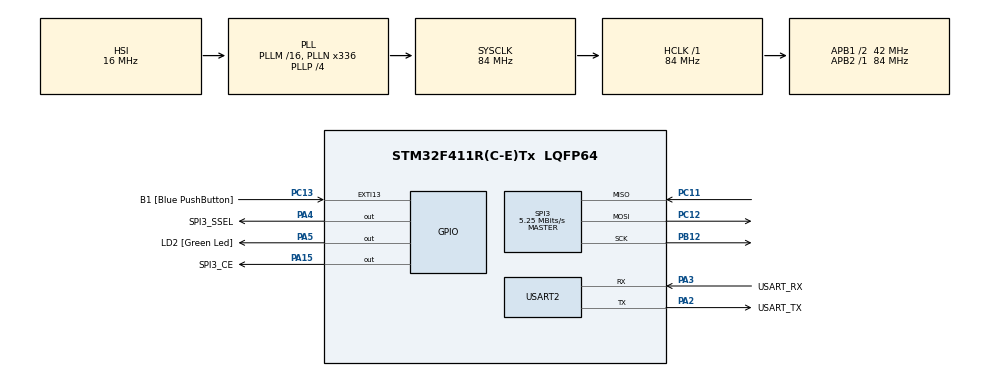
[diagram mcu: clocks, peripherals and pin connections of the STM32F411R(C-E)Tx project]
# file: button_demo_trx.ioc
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Mcu.Family=STM32F4
Mcu.Name=STM32F411R(C-E)Tx
Mcu.Package=LQFP64
NVIC.PriorityGroup=NVIC_PRIORITYGROUP_0
PA13.GPIO_Label=TMS
PA13.Mode=Serial_Wire
PA13.Signal=SYS_JTMS-SWDIO
PA14.GPIO_Label=TCK
PA14.Mode=Serial_Wire
PA14.Signal=SYS_JTCK-SWCLK
PA15.GPIO_Label=SPI3_CE
PA15.Signal=GPIO_Output
PA2.GPIO_Label=USART_TX
PA2.Mode=Asynchronous
PA2.Signal=USART2_TX
PA3.GPIO_Label=USART_RX
PA3.Mode=Asynchronous
PA3.Signal=USART2_RX
PA4.GPIO_Label=SPI3_SSEL
PA4.Signal=GPIO_Output
PA5.GPIO_Label=LD2 [Green Led]
PA5.Signal=GPIO_Output
PB12.Mode=Full_Duplex_Master
PB12.Signal=SPI3_SCK
PB3.GPIO_Label=SWO
PB3.Signal=SYS_JTDO-SWO
PC11.Mode=Full_Duplex_Master
PC11.Signal=SPI3_MISO
PC12.Mode=Full_Duplex_Master
PC12.Signal=SPI3_MOSI
PC13-ANTI_TAMP.GPIO_Label=B1 [Blue PushButton]
PC13-ANTI_TAMP.GPIO_ModeDefaultEXTI=GPIO_MODE_IT_FALLING
PC13-ANTI_TAMP.Signal=GPXTI13
PC14-OSC32_IN.Mode=LSE-External-Oscillator
PC14-OSC32_IN.Signal=RCC_OSC32_IN
PC15-OSC32_OUT.Mode=LSE-External-Oscillator
PC15-OSC32_OUT.Signal=RCC_OSC32_OUT
PH0\ -\ OSC_IN.Mode=HSE-External-Clock-Source
PH0\ -\ OSC_IN.Signal=RCC_OSC_IN
PH1\ -\ OSC_OUT.Mode=HSE-External-Clock-Source
PH1\ -\ OSC_OUT.Signal=RCC_OSC_OUT
ProjectManager.HeapSize=0x200
ProjectManager.StackSize=0x400
ProjectManager.TargetToolchain=STM32CubeIDE
RCC.48MHZClocksFreq_Value=84000000
RCC.AHBFreq_Value=84000000
RCC.APB1CLKDivider=RCC_HCLK_DIV2
RCC.APB1Freq_Value=42000000
RCC.APB1TimFreq_Value=84000000
RCC.APB2Freq_Value=84000000
RCC.APB2TimFreq_Value=84000000
RCC.CortexFreq_Value=84000000
RCC.FLatency-AdvancedSettings=FLASH_LATENCY_2
RCC.HCLKFreq_Value=84000000
RCC.HSE_VALUE=8000000
RCC.HSI_VALUE=16000000
RCC.PLLN=336
RCC.PLLP=RCC_PLLP_DIV4
RCC.SYSCLKFreq_VALUE=84000000
RCC.SYSCLKSource=RCC_SYSCLKSOURCE_PLLCLK
RCC.VCOOutputFreq_Value=336000000
SPI3.BaudRatePrescaler=SPI_BAUDRATEPRESCALER_8
SPI3.CalculateBaudRate=5.25 MBits/s
SPI3.Direction=SPI_DIRECTION_2LINES
SPI3.FirstBit=SPI_FIRSTBIT_MSB
SPI3.Mode=SPI_MODE_MASTER
SPI3.VirtualType=VM_MASTER
USART2.VirtualMode=VM_ASYNC
board=NUCLEO-F411RE

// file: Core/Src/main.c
/* USER CODE BEGIN Header */
/**
  ******************************************************************************
  * @file           : main.c
  * @brief          : Main program body
  ******************************************************************************
  * @attention
  *
  * Copyright (c) 2022 STMicroelectronics.
  * All rights reserved.
  *
  * This software is licensed under terms that can be found in the LICENSE file
  * in the root directory of this software component.
  * If no LICENSE file comes with this software, it is provided AS-IS.
  *
  ******************************************************************************
  */
/* USER CODE END Header */
#include "main.h"

/* USER CODE BEGIN Includes */
#include "string.h"
#include "NRF24L01.h"
/* USER CODE END Includes */

SPI_HandleTypeDef hspi3;

UART_HandleTypeDef huart2;

/* USER CODE BEGIN PV */
uint8_t RxAddress[] = {0xEE,0xDD,0xCC,0xBB,0xAA}; // list of data pipes available
uint8_t RxData[32];
uint8_t txData[32];
uint8_t TxAddress[] = {0xEE,0xDD,0xCC,0xBB,0xAA};
uint8_t uButtonFlag = 0;
/* USER CODE END PV */

void SystemClock_Config(void);
static void MX_GPIO_Init(void);
static void MX_USART2_UART_Init(void);
static void MX_SPI3_Init(void);
/* USER CODE BEGIN PFP */
uint8_t userButtonActive(void);
/* USER CODE END PFP */

int main(void)
{
  /* USER CODE BEGIN 1 */
	// set up tx data
	char txBuf[32];
	strcpy(txBuf,  "According to all known laws of a");

	// convert to transmittable form:
	memcpy(&txData, txBuf, 32); // done! data ready in txData
  /* USER CODE END 1 */

  /* MCU Configuration--------------------------------------------------------*/

  /* Reset of all peripherals, Initializes the Flash interface and the Systick. */
  HAL_Init();

  /* Configure the system clock */
  SystemClock_Config();

  /* Initialize all configured peripherals */
  MX_GPIO_Init();
  MX_USART2_UART_Init();
  MX_SPI3_Init();
  /* USER CODE BEGIN 2 */
  NRF24_Init();
  NRF24_RxMode(RxAddress, 6); // receive on channel 6
  /* USER CODE END 2 */

  /* Infinite loop */
  /* USER CODE BEGIN WHILE */
  while (1)
  {
	  // push button - transmit bee movie
	  if(userButtonActive())
	  {
		  // user wants to transmit
		  // set up tx mode:
		  NRF24_TxMode(TxAddress, 6); // transmit on channel 6
		  HAL_Delay(1); // let SPI settle
		  if(NRF24_Transmit(txData)) // transmit 32B msg, check if it worked
		  {
			  // flash the happy light: 3 quick blinks
			  int flashCount = 3;
			  for(int i = 0; i < (flashCount*2); i++)
			  {
				  HAL_GPIO_TogglePin(GPIOA, GPIO_PIN_5);
				  HAL_Delay(150);
			  }
		  }
		  // flash the sad lights: 2 long unsynced blinks
		  else
		  {
			  int flashCount = 3;
			  for(int i = 0; i < flashCount; i++)
			  {
			  	  HAL_GPIO_TogglePin(GPIOA, GPIO_PIN_5);
			  	  HAL_Delay(300);
			  	  HAL_GPIO_TogglePin(GPIOA, GPIO_PIN_5);
			  	  HAL_Delay(100);
			  }
		  }
		  NRF24_RxMode(RxAddress, 6); // return to Rx mode

	  }
	  // otherwise, just check for mail (Rx)
	  if(isDataAvailable(2))
	  {
		  // get the data
		  NRF24_Receive(RxData);
		  HAL_GPIO_TogglePin(GPIOA, GPIO_PIN_5); // toggle the LED
	  }

    /* USER CODE END WHILE */

    /* USER CODE BEGIN 3 */
	  HAL_Delay(20); // cycle 50 times a second MAX
  }
  /* USER CODE END 3 */
}

void SystemClock_Config(void)
{
  RCC_OscInitTypeDef RCC_OscInitStruct = {0};
  RCC_ClkInitTypeDef RCC_ClkInitStruct = {0};

  /** Configure the main internal regulator output voltage
  */
  __HAL_RCC_PWR_CLK_ENABLE();
  __HAL_PWR_VOLTAGESCALING_CONFIG(PWR_REGULATOR_VOLTAGE_SCALE1);
  /** Initializes the RCC Oscillators according to the specified parameters
  * in the RCC_OscInitTypeDef structure.
  */
  RCC_OscInitStruct.OscillatorType = RCC_OSCILLATORTYPE_HSI;
  RCC_OscInitStruct.HSIState = RCC_HSI_ON;
  RCC_OscInitStruct.HSICalibrationValue = RCC_HSICALIBRATION_DEFAULT;
  RCC_OscInitStruct.PLL.PLLState = RCC_PLL_ON;
  RCC_OscInitStruct.PLL.PLLSource = RCC_PLLSOURCE_HSI;
  RCC_OscInitStruct.PLL.PLLM = 16;
  RCC_OscInitStruct.PLL.PLLN = 336;
  RCC_OscInitStruct.PLL.PLLP = RCC_PLLP_DIV4;
  RCC_OscInitStruct.PLL.PLLQ = 4;
  if (HAL_RCC_OscConfig(&RCC_OscInitStruct) != HAL_OK)
  {
    Error_Handler();
  }
  /** Initializes the CPU, AHB and APB buses clocks
  */
  RCC_ClkInitStruct.ClockType = RCC_CLOCKTYPE_HCLK|RCC_CLOCKTYPE_SYSCLK
                              |RCC_CLOCKTYPE_PCLK1|RCC_CLOCKTYPE_PCLK2;
  RCC_ClkInitStruct.SYSCLKSource = RCC_SYSCLKSOURCE_PLLCLK;
  RCC_ClkInitStruct.AHBCLKDivider = RCC_SYSCLK_DIV1;
  RCC_ClkInitStruct.APB1CLKDivider = RCC_HCLK_DIV2;
  RCC_ClkInitStruct.APB2CLKDivider = RCC_HCLK_DIV1;

  if (HAL_RCC_ClockConfig(&RCC_ClkInitStruct, FLASH_LATENCY_2) != HAL_OK)
  {
    Error_Handler();
  }
}

static void MX_SPI3_Init(void)
{

  /* SPI3 parameter configuration*/
  hspi3.Instance = SPI3;
  hspi3.Init.Mode = SPI_MODE_MASTER;
  hspi3.Init.Direction = SPI_DIRECTION_2LINES;
  hspi3.Init.DataSize = SPI_DATASIZE_8BIT;
  hspi3.Init.CLKPolarity = SPI_POLARITY_LOW;
  hspi3.Init.CLKPhase = SPI_PHASE_1EDGE;
  hspi3.Init.NSS = SPI_NSS_SOFT;
  hspi3.Init.BaudRatePrescaler = SPI_BAUDRATEPRESCALER_8;
  hspi3.Init.FirstBit = SPI_FIRSTBIT_MSB;
  hspi3.Init.TIMode = SPI_TIMODE_DISABLE;
  hspi3.Init.CRCCalculation = SPI_CRCCALCULATION_DISABLE;
  hspi3.Init.CRCPolynomial = 10;
  if (HAL_SPI_Init(&hspi3) != HAL_OK)
  {
    Error_Handler();
  }

}

static void MX_USART2_UART_Init(void)
{

  huart2.Instance = USART2;
  huart2.Init.BaudRate = 115200;
  huart2.Init.WordLength = UART_WORDLENGTH_8B;
  huart2.Init.StopBits = UART_STOPBITS_1;
  huart2.Init.Parity = UART_PARITY_NONE;
  huart2.Init.Mode = UART_MODE_TX_RX;
  huart2.Init.HwFlowCtl = UART_HWCONTROL_NONE;
  huart2.Init.OverSampling = UART_OVERSAMPLING_16;
  if (HAL_UART_Init(&huart2) != HAL_OK)
  {
    Error_Handler();
  }

}

static void MX_GPIO_Init(void)
{
  GPIO_InitTypeDef GPIO_InitStruct = {0};

  /* GPIO Ports Clock Enable */
  __HAL_RCC_GPIOC_CLK_ENABLE();
  __HAL_RCC_GPIOH_CLK_ENABLE();
  __HAL_RCC_GPIOA_CLK_ENABLE();
  __HAL_RCC_GPIOB_CLK_ENABLE();

  /*Configure GPIO pin Output Level */
  HAL_GPIO_WritePin(GPIOA, SPI3_SSEL_Pin|LD2_Pin|SPI3_CE_Pin, GPIO_PIN_RESET);

  /*Configure GPIO pin : B1_Pin */
  GPIO_InitStruct.Pin = B1_Pin;
  GPIO_InitStruct.Mode = GPIO_MODE_IT_FALLING;
  GPIO_InitStruct.Pull = GPIO_NOPULL;
  HAL_GPIO_Init(B1_GPIO_Port, &GPIO_InitStruct);

  /*Configure GPIO pins : SPI3_SSEL_Pin LD2_Pin SPI3_CE_Pin */
  GPIO_InitStruct.Pin = SPI3_SSEL_Pin|LD2_Pin|SPI3_CE_Pin;
  GPIO_InitStruct.Mode = GPIO_MODE_OUTPUT_PP;
  GPIO_InitStruct.Pull = GPIO_NOPULL;
  GPIO_InitStruct.Speed = GPIO_SPEED_FREQ_LOW;
  HAL_GPIO_Init(GPIOA, &GPIO_InitStruct);

}

/* USER CODE BEGIN 4 */
uint8_t userButtonActive()
{
	uint8_t state = HAL_GPIO_ReadPin(GPIOC, GPIO_PIN_13); // Read the button
	if(state != uButtonFlag)
	{
		uButtonFlag = state;
		if(uButtonFlag != 0)
			return(1);
	}
	return(0);
}
/* USER CODE END 4 */

void Error_Handler(void)
{
  /* USER CODE BEGIN Error_Handler_Debug */
  /* User can add his own implementation to report the HAL error return state */
  __disable_irq();
  while (1)
  {
	  HAL_GPIO_WritePin(GPIOA, GPIO_PIN_5, 1); // IF ERRORS, turn on the LED
  }
  /* USER CODE END Error_Handler_Debug */
}
